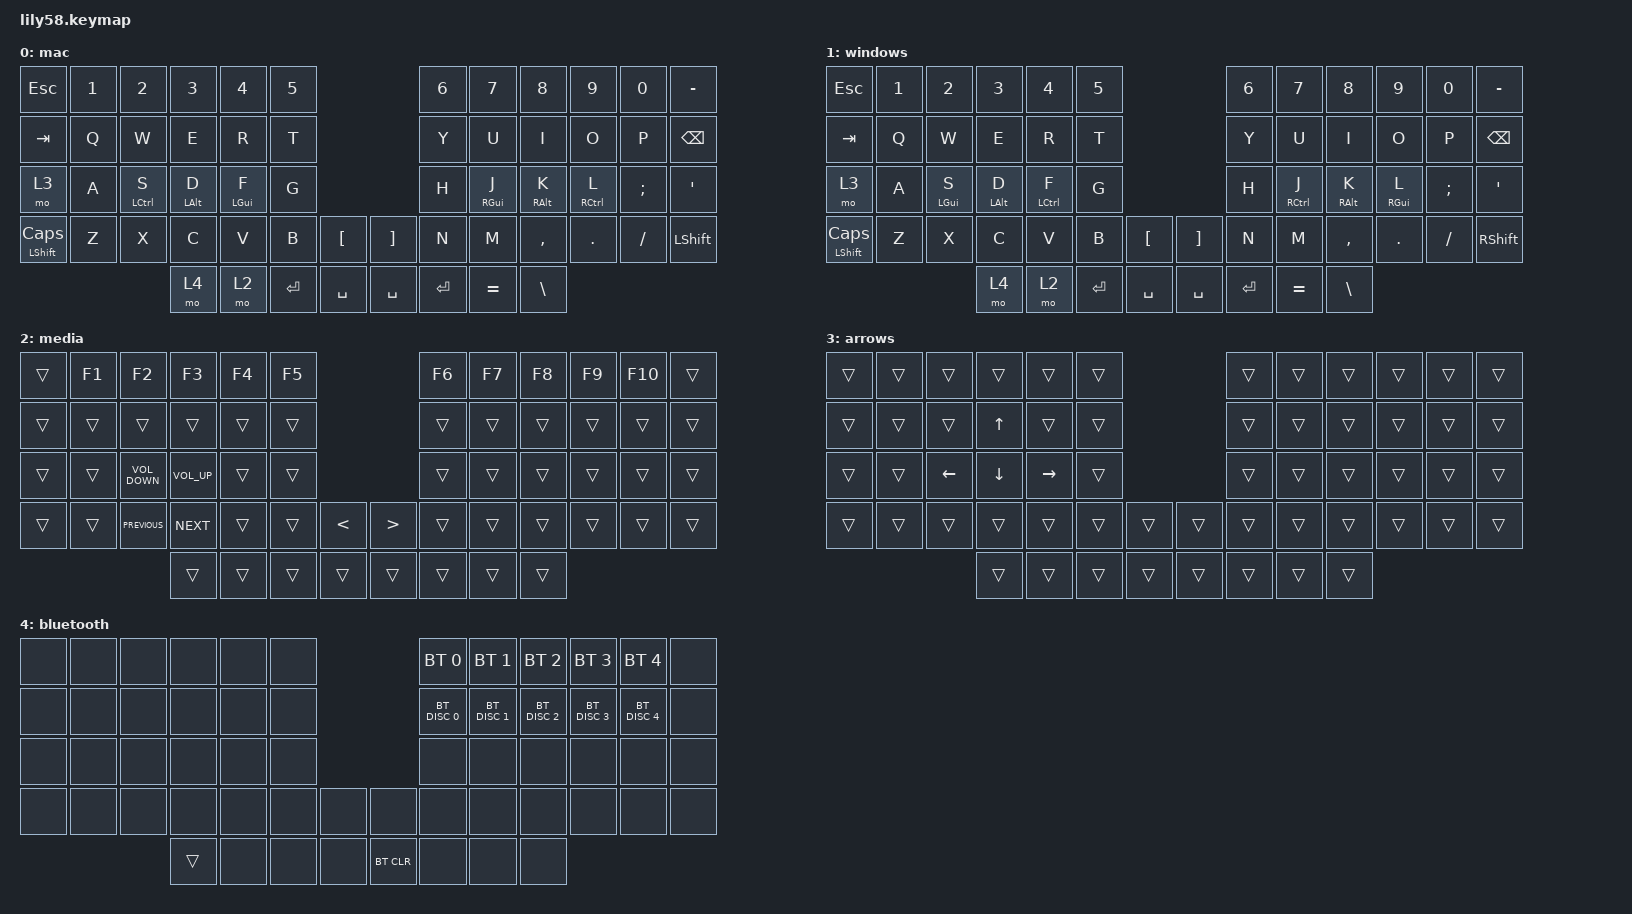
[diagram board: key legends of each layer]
/*
 * Copyright (c) 2020 The ZMK Contributors
 *
 * SPDX-License-Identifier: MIT
 */

#include <behaviors.dtsi>
#include <dt-bindings/zmk/bt.h>
#include <dt-bindings/zmk/keys.h>

/ {
    combos {
        compatible = "zmk,combos";

        combo_lock {
            bindings = <&kp LC(LG(Q))>;
            key-positions = <53 54>;
        };

        delete {
            bindings = <&kp DEL>;
            key-positions = <23 11>;
        };

        windows_layer {
            bindings = <&tog 1>;
            key-positions = <42 43>;
        };
    };

    behaviors {
        HRMR: HRMR {
            compatible = "zmk,behavior-hold-tap";
            label = "HRMR";
            bindings = <&kp>, <&kp>;

            #binding-cells = <2>;
            tapping-term-ms = <280>;
            quick-tap-ms = <175>;
            require-prior-idle-ms = <150>;
            flavor = "tap-preferred";
            hold-trigger-on-release;
            hold-trigger-key-positions = <0 1 2 3 4 5 12 13 14 15 16 17 24 25 26 27 28 29 36 37 38 39 40 41 42 50 51 52 53 53 54 55 56 57 43>;
        };

        HRML: HRML {
            compatible = "zmk,behavior-hold-tap";
            label = "HRML";
            bindings = <&kp>, <&kp>;

            #binding-cells = <2>;
            tapping-term-ms = <280>;
            quick-tap-ms = <175>;
            require-prior-idle-ms = <150>;
            flavor = "tap-preferred";
            hold-trigger-on-release;
            hold-trigger-key-positions = <6 7 8 9 10 11 18 19 20 21 22 23 30 31 32 33 34 35 43 44 45 46 47 48 49 54 55 56 57 50 51 52 53 42>;
        };

        HRLL: HRLL {
            compatible = "zmk,behavior-hold-tap";
            label = "HRLL";
            bindings = <&mo>, <&kp>;

            #binding-cells = <2>;
            tapping-term-ms = <280>;
            quick-tap-ms = <175>;
            require-prior-idle-ms = <150>;
            flavor = "tap-preferred";
            hold-trigger-on-release;
            hold-trigger-key-positions = <6 7 8 9 10 11 18 19 20 21 22 23 30 31 32 33 34 35 42 43 44 45 46 47 48 49 53 54 55 56 57 50 51 52>;
        };

        HRLR: HRLR {
            compatible = "zmk,behavior-hold-tap";
            label = "HRLR";
            bindings = <&mo>, <&kp>;

            #binding-cells = <2>;
            tapping-term-ms = <280>;
            quick-tap-ms = <175>;
            require-prior-idle-ms = <150>;
            hold-trigger-on-release;
            hold-trigger-key-positions = <0 1 2 3 4 5 12 13 14 15 16 17 24 25 26 27 28 29 36 37 38 39 40 41 42 50 51 52 53 43 54 55 56 57>;
            flavor = "tap-preferred";
        };
    };

    keymap {
        compatible = "zmk,keymap";

        mac_layer {
            // ------------------------------------------------------------------------------------------------------------
            // |  ESC  |  1  |  2  |  3   |  4   |  5   |                   |  6   |  7    |  8    |  9   |   0   |   `   |
            // |  TAB  |  Q  |  W  |  E   |  R   |  T   |                   |  Y   |  U    |  I    |  O   |   P   |   -   |
            // |  CTRL |  A  |  S  |  D   |  F   |  G   |                   |  H   |  J    |  K    |  L   |   ;   |   '   |
            // | SHIFT |  Z  |  X  |  C   |  V   |  B   |   "["  |  |  "]"  |  N   |  M    |  ,    |  .   |   /   | SHIFT |
            //                     | ALT  | GUI  | LOWER|  SPACE |  | ENTER | RAISE| BSPC  | GUI   |

            bindings = <
&kp ESC              &kp N1  &kp N2         &kp N3            &kp N4            &kp N5                             &kp N6     &kp N7             &kp N8             &kp N9         &kp N0    &kp MINUS
&kp TAB              &kp Q   &kp W          &kp E             &kp R             &kp T                              &kp Y      &kp U              &kp I              &kp O          &kp P     &kp BACKSPACE
&mo 3                &kp A   &HRML LCTRL S  &HRML LEFT_ALT D  &HRML LEFT_GUI F  &kp G                              &kp H      &HRMR RIGHT_GUI J  &HRMR RIGHT_ALT K  &HRMR RCTRL L  &kp SEMI  &kp SQT
&mt LEFT_SHIFT CAPS  &kp Z   &kp X          &kp C             &kp V             &kp B      &kp LBKT     &kp RBKT   &kp N      &kp M              &kp COMMA          &kp DOT        &kp FSLH  &kp LEFT_SHIFT
                                            &mo 4             &mo 2             &kp ENTER  &kp SPACE    &kp SPACE  &kp ENTER  &kp EQUAL          &kp BACKSLASH
            >;

            label = "mac";
        };

        windows_layer {
            bindings = <
&kp ESC                  &kp N1  &kp N2            &kp N3            &kp N4         &kp N5                                            &kp N6     &kp N7         &kp N8             &kp N9             &kp N0     &kp MINUS
&kp TAB                  &kp Q   &kp W             &kp E             &kp R          &kp T                                             &kp Y      &kp U          &kp I              &kp O              &kp P      &kp BSPC
&mo 3                    &kp A   &HRML LEFT_GUI S  &HRML LEFT_ALT D  &HRML LCTRL F  &kp G                                             &kp H      &HRMR RCTRL J  &HRMR RIGHT_ALT K  &HRMR RIGHT_GUI L  &kp SEMI   &kp APOS
&mt LEFT_SHIFT CAPSLOCK  &kp Z   &kp X             &kp C             &kp V          &kp B      &kp LEFT_BRACKET    &kp RIGHT_BRACKET  &kp N      &kp M          &kp COMMA          &kp DOT            &kp SLASH  &kp RIGHT_SHIFT
                                                   &mo 4             &mo 2          &kp ENTER  &kp SPACE           &kp SPACE          &kp ENTER  &kp EQUAL      &kp BACKSLASH
            >;

            label = "windows";
        };

        media_layer {
            bindings = <
&trans  &kp F1  &kp F2             &kp F3           &kp F4  &kp F5                                     &kp F6  &kp F7  &kp F8  &kp F9  &kp F10  &trans
&trans  &trans  &trans             &trans           &trans  &trans                                     &trans  &trans  &trans  &trans  &trans   &trans
&trans  &trans  &kp C_VOLUME_DOWN  &kp C_VOLUME_UP  &trans  &trans                                     &trans  &trans  &trans  &trans  &trans   &trans
&trans  &trans  &kp C_PREVIOUS     &kp C_NEXT       &trans  &trans  &kp LESS_THAN    &kp GREATER_THAN  &trans  &trans  &trans  &trans  &trans   &trans
                                   &trans           &trans  &trans  &trans           &trans            &trans  &trans  &trans
            >;

            label = "media";
        };

        arrow_layer {
            bindings = <
&trans  &trans  &trans    &trans        &trans     &trans                    &trans  &trans  &trans  &trans  &trans  &trans
&trans  &trans  &trans    &kp UP_ARROW  &trans     &trans                    &trans  &trans  &trans  &trans  &trans  &trans
&trans  &trans  &kp LEFT  &kp DOWN      &kp RIGHT  &trans                    &trans  &trans  &trans  &trans  &trans  &trans
&trans  &trans  &trans    &trans        &trans     &trans  &trans    &trans  &trans  &trans  &trans  &trans  &trans  &trans
                          &trans        &trans     &trans  &trans    &trans  &trans  &trans  &trans
            >;

            label = "arrows";
        };

        bluetooth_layer {
            bindings = <
&none  &none  &none  &none   &none  &none                       &bt BT_SEL 0   &bt BT_SEL 1   &bt BT_SEL 2   &bt BT_SEL 3   &bt BT_SEL 4   &none
&none  &none  &none  &none   &none  &none                       &bt BT_DISC 0  &bt BT_DISC 1  &bt BT_DISC 2  &bt BT_DISC 3  &bt BT_DISC 4  &none
&none  &none  &none  &none   &none  &none                       &none          &none          &none          &none          &none          &none
&none  &none  &none  &none   &none  &none  &none    &none       &none          &none          &none          &none          &none          &none
                     &trans  &none  &none  &none    &bt BT_CLR  &none          &none          &none
            >;

            label = "bluetooth";
        };
    };
};
